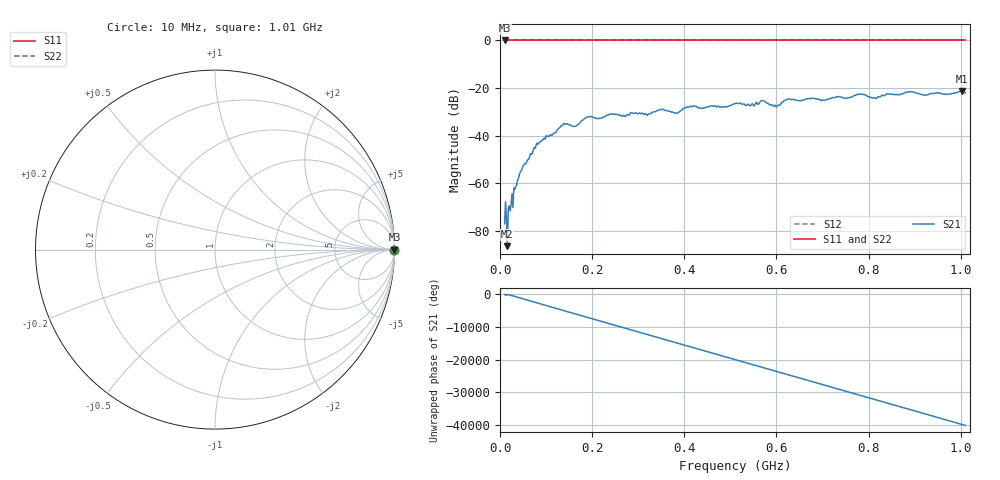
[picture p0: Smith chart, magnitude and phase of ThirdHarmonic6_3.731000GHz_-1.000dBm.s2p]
! 8/17/2025 12:45:07 PM
! C:\ANRITSUVNA\TEMP\TEMP.S2P
! CHANNEL.1
! TR.MEASUREMENT
! RAW.DATA
! RF.CORRECTION.OFF
! AVERAGING.OFF
! IF.BANDWIDTH: 5KHZ
! SWEEPTYPE:  FREQ.SWEEP(Linear)
! Reference Plane Port Info
! PORT:  PORT1  PORT2
! DISTANCE:  0  m  0  m
! TIME:  0  s  0  s
! PHASE.OFFSET:  0  deg.  0  deg.
! LOSS:  0  dB  0  dB
! REF.LOSS:  0  dB  0  dB
! REF.FREQ:  0  Hz  0  Hz
! Power Info
! POWER:  -20  dBm  -20  dBm
! EFF.POWER:  -20  dBm  -20  dBm
! SOURCE.ATTEN:  0  dB  0  dB
! TEST.ATTEN:  0  dB  0  dB
# GHZ S RI R 50.0
! FREQ.GHZ  S11RE  S11IM  S21RE  S21IM  S12RE  S12IM  S22RE  S22IM
!; PortSelection: Port_12
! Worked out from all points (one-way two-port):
!   501 points, 10 MHz to 1.01 GHz, reference 50 ohm
!   highest |S21| = -21.30 dB at 1.002 GHz (marker M1); lowest = -86.5 dB at 16 MHz (marker M2)
!   lowest |S11| = 0.0 dB at 10 MHz (marker M3)
!   |S11| at or under -10 dB: nowhere
!   |S22| runs from 0.0 to 0.0 dB; largest |S21 - S12| = 1.1
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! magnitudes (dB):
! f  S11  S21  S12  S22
! 10 MHz  0.0  -77.1  0.0  0.0
! 16 MHz  0.0  -86.5  0.0  0.0
! 20 MHz  0.0  -69.6  0.0  0.0
! 22 MHz  0.0  -71.7  0.0  0.0
! 46 MHz  0.0  -54.8  0.0  0.0
! 78 MHz  0.0  -44.3  0.0  0.0
! 136 MHz  0.0  -35.7  0.0  0.0
! 162 MHz  0.0  -36.2  0.0  0.0
! 178 MHz  0.0  -33.6  0.0  0.0
! 344 MHz  0.0  -29.4  0.0  0.0
! 382 MHz  0.0  -30.5  0.0  0.0
! 416 MHz  0.0  -27.9  0.0  0.0
! 510 MHz  0.0  -26.5  0.0  0.0
! 570 MHz  0.0  -25.2  0.0  0.0
! 596 MHz  0.0  -27.2  0.0  0.0
! 624 MHz  0.0  -24.7  0.0  0.0
! 678 MHz  0.0  -24.3  0.0  0.0
! 784 MHz  0.0  -22.6  0.0  0.0
! 814 MHz  0.0  -24.1  0.0  0.0
! 844 MHz  0.0  -22.6  0.0  0.0
! 1.002 GHz  0.0  -21.3  0.0  0.0
! 1.01 GHz  0.0  -22.0  0.0  0.0
